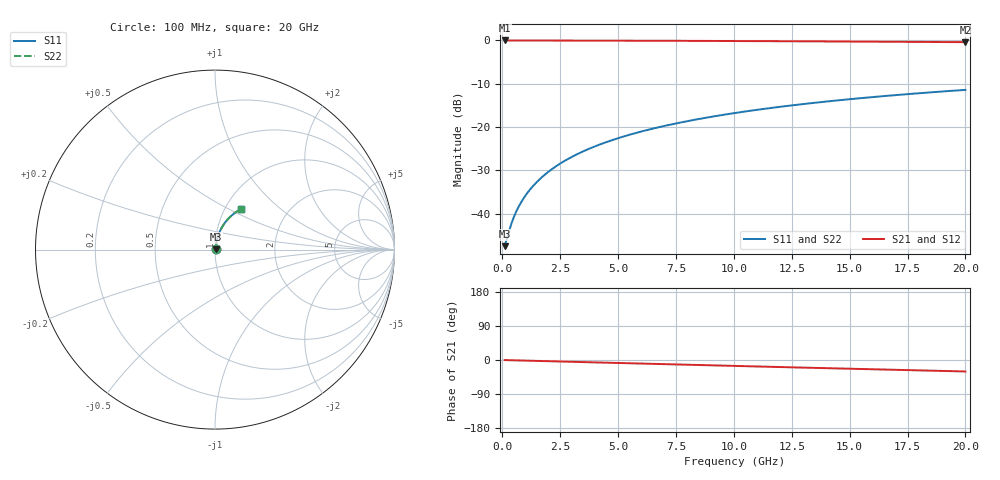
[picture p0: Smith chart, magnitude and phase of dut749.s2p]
! Touchstone file exported from HFSS 2026.1.0
!  File:  C:/ffzhzh/LocalFiles/Ansys_Project_Files/temp_train_BSMRDL_749_1783168831_43440.aedt
!  Generated:  08:41:42 PM Jul  4, 2026
!  Design:  BSMRDL
!  Project:  temp_train_BSMRDL_749_1783168831_43440
! Variables:
!  h_bsmrdl = 2.65um
!  h_ox = 20um
!  h_rdl = 5um
!  h_sub = 80um
!  h_tmrdl = 5um
!  h_tsv = 80um
!  h_via = 3um
!  l_bsmrdl = 446.13um
!  l_sub = 846.13um
!  l_tmrdl = 200um
!  m_sub = 200um
!  pitch = 32.24um
!  r_tsv = 6um
!  s_tmrdl = 10um
!  w_bsmrdl = 16.24um
!  w_sub = 500um
!  w_tmrdl = 12um
!  x_tsv_center1 = 206um
!  x_tsv_center2 = 668.37um
!  x_tsv_center3 = 880.37um
!  x_tsv_center4 = 1342.74um
!  x_tsv_center5 = 1554.74um
!  x_tsv_center6 = 2017.11um
# GHz S MA R 50.000000
! Terminal data exported
! Port[1] = BSM_RDL1_1_T1
! Port[2] = BSM_RDL1_1_T2
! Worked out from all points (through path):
!   200 points, 100 MHz to 20 GHz, reference 50 ohm
!   highest |S21| = -0.03 dB at 100 MHz (marker M1); lowest = -0.4 dB at 20 GHz (marker M2)
!   group delay of S21, straight-line fit = 4.21 ps
!   lowest |S11| = -47.5 dB at 100 MHz (marker M3), VSWR 1.01, Z = 50.4 + j0.168 ohm
!   |S11| at or under -10 dB: start of sweep to end of sweep
!   |S22| runs from -47.5 to -11.4 dB; largest |S21 - S12| = 2.1e-15
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0.1  0.004222 23.3  0.9961 -0.2  0.9961 -0.2  0.004222 23.3
! Gamma 0 0 0 0
! Port Impedance 50 0 50 0
0.3  0.006412 50.1  0.9959 -0.5  0.9959 -0.5  0.006412 50.1
0.4  0.00776 56.6  0.9958 -0.7  0.9958 -0.7  0.00776 56.6
0.5  0.009147 61.0  0.9956 -0.8  0.9956 -0.8  0.009147 61.0
0.6  0.01055 64.1  0.9955 -1.0  0.9955 -1.0  0.01055 64.1
0.7  0.01195 66.6  0.9954 -1.1  0.9954 -1.1  0.01195 66.6
0.9  0.01477 70.0  0.9952 -1.5  0.9952 -1.5  0.01477 70.0
1.2  0.01903 73.3  0.995 -1.9  0.995 -1.9  0.01903 73.3
1.4  0.0219 74.7  0.9948 -2.2  0.9948 -2.2  0.0219 74.7
1.7  0.02622 76.2  0.9946 -2.7  0.9946 -2.7  0.02622 76.2
2.2  0.03349 77.6  0.9943 -3.5  0.9943 -3.5  0.03349 77.6
2.8  0.04224 78.4  0.9938 -4.4  0.9938 -4.4  0.04225 78.3
3.5  0.05247 78.5  0.9932 -5.5  0.9932 -5.5  0.05247 78.5
4.2  0.06267 78.2  0.9924 -6.6  0.9924 -6.6  0.06267 78.2
5  0.07427 77.5  0.9913 -7.9  0.9913 -7.9  0.07428 77.5
5.9  0.08723 76.6  0.9899 -9.3  0.9899 -9.3  0.08723 76.6
6.8  0.1001 75.5  0.9884 -10.7  0.9884 -10.7  0.1001 75.5
8.3  0.1211 73.6  0.9854 -13.0  0.9854 -13.0  0.1211 73.6
10.1  0.1458 71.1  0.9814 -15.7  0.9814 -15.7  0.1458 71.1
13.4  0.1892 66.5  0.9726 -20.7  0.9726 -20.7  0.1892 66.5
16.7  0.23 61.9  0.9627 -25.5  0.9627 -25.5  0.23 61.8
20  0.2681 57.3  0.952 -30.3  0.952 -30.3  0.2681 57.3
